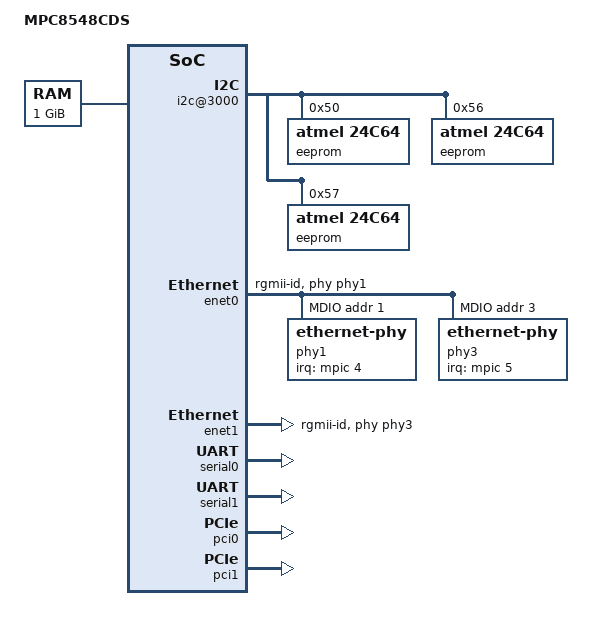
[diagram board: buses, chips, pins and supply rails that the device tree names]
/*
 * MPC8548 CDS Device Tree Source
 *
 * Copyright 2006, 2008 Freescale Semiconductor Inc.
 *
 * This program is free software; you can redistribute  it and/or modify it
 * under  the terms of  the GNU General  Public License as published by the
 * Free Software Foundation;  either version 2 of the  License, or (at your
 * option) any later version.
 */

/dts-v1/;

/ {
	model = "MPC8548CDS";
	compatible = "MPC8548CDS", "MPC85xxCDS";
	#address-cells = <1>;
	#size-cells = <1>;

	aliases {
		ethernet0 = &enet0;
		ethernet1 = &enet1;
		serial0 = &serial0;
		serial1 = &serial1;
		pci0 = &pci0;
		pci1 = &pci1;
	};

	cpus {
		#address-cells = <1>;
		#size-cells = <0>;

		PowerPC,8548@0 {
			device_type = "cpu";
			reg = <0x0>;
			d-cache-line-size = <32>;	// 32 bytes
			i-cache-line-size = <32>;	// 32 bytes
			d-cache-size = <0x8000>;		// L1, 32K
			i-cache-size = <0x8000>;		// L1, 32K
			timebase-frequency = <0>;	//  33 MHz, from uboot
			bus-frequency = <0>;	// 166 MHz
			clock-frequency = <0>;	// 825 MHz, from uboot
			next-level-cache = <&L2>;
		};
	};

	memory {
		device_type = "memory";
		reg = <0x0 0x40000000>;	// 1GB at 0x0
	};

	soc8548@e0000000 {
		#address-cells = <1>;
		#size-cells = <1>;
		device_type = "soc";
		compatible = "simple-bus";
		ranges = <0x0 0xe0000000 0x100000>;
		bus-frequency = <0>;

		ecm-law@0 {
			compatible = "fsl,ecm-law";
			reg = <0x0 0x1000>;
			fsl,num-laws = <10>;
		};

		ecm@1000 {
			compatible = "fsl,mpc8548-ecm", "fsl,ecm";
			reg = <0x1000 0x1000>;
			interrupts = <17 2>;
			interrupt-parent = <&mpic>;
		};

		memory-controller@2000 {
			compatible = "fsl,8548-memory-controller";
			reg = <0x2000 0x1000>;
			interrupt-parent = <&mpic>;
			interrupts = <18 2>;
		};

		L2: l2-cache-controller@20000 {
			compatible = "fsl,8548-l2-cache-controller";
			reg = <0x20000 0x1000>;
			cache-line-size = <32>;	// 32 bytes
			cache-size = <0x80000>;	// L2, 512K
			interrupt-parent = <&mpic>;
			interrupts = <16 2>;
		};

		i2c@3000 {
			#address-cells = <1>;
			#size-cells = <0>;
			cell-index = <0>;
			compatible = "fsl-i2c";
			reg = <0x3000 0x100>;
			interrupts = <43 2>;
			interrupt-parent = <&mpic>;
			dfsrr;

			eeprom@50 {
				compatible = "atmel,24c64";
				reg = <0x50>;
			};

			eeprom@56 {
				compatible = "atmel,24c64";
				reg = <0x56>;
			};

			eeprom@57 {
				compatible = "atmel,24c64";
				reg = <0x57>;
			};
		};

		enet0: ethernet@24000 {
			#address-cells = <1>;
			#size-cells = <1>;
			cell-index = <0>;
			device_type = "network";
			model = "eTSEC";
			compatible = "gianfar";
			reg = <0x24000 0x1000>;
			ranges = <0x0 0x24000 0x1000>;
			local-mac-address = [ 00 19 80 02 18 AA ];
			interrupts = <29 2 30 2 34 2>;
			interrupt-parent = <&mpic>;
			phy-handle = <&phy1>;
			phy-connection-type = "rgmii-id";

            mdio@520 {
                #address-cells = <1>;
                #size-cells = <0>;
                compatible = "fsl,gianfar-mdio";
                reg = <0x520 0x20>;

                phy1: ethernet-phy@1 {
                    interrupt-parent = <&mpic>;
                    interrupts = <4 1>;
                    reg = <0x1>;
                    device_type = "ethernet-phy";
                };
                phy3: ethernet-phy@3 {
                    interrupt-parent = <&mpic>;
                    interrupts = <5 1>;
                    reg = <0x3>;
                    device_type = "ethernet-phy";
                };
            };
		};

		enet1: ethernet@26000 {
			#address-cells = <1>;
			#size-cells = <1>;
			cell-index = <2>;
			device_type = "network";
			model = "eTSEC";
			compatible = "gianfar";
			reg = <0x26000 0x1000>;
			ranges = <0x0 0x26000 0x1000>;
			local-mac-address = [ 00 19 80 02 18 CC ];
			interrupts = <31 2 32 2 33 2>;
			interrupt-parent = <&mpic>;
			phy-handle = <&phy3>;
			phy-connection-type = "rgmii-id";
		};

		serial0: serial@4500 {
			cell-index = <0>;
			device_type = "serial";
			compatible = "ns16550";
			reg = <0x4500 0x100>;	// reg base, size
			clock-frequency = <0>;	// should we fill in in uboot?
			interrupts = <42 2>;
			interrupt-parent = <&mpic>;
		};

		serial1: serial@4600 {
			cell-index = <1>;
			device_type = "serial";
			compatible = "ns16550";
			reg = <0x4600 0x100>;	// reg base, size
			clock-frequency = <0>;	// should we fill in in uboot?
			interrupts = <42 2>;
			interrupt-parent = <&mpic>;
		};

		mpic: pic@40000 {
			interrupt-controller;
			#address-cells = <0>;
			#interrupt-cells = <2>;
			reg = <0x40000 0x40000>;
			compatible = "chrp,open-pic";
			device_type = "open-pic";
		};
	};

	pci0: pci@e0008000 {
		interrupt-map-mask = <0xf800 0x0 0x0 0x7>;
		interrupt-map = <
            0x7000 0x0 0x0 0x1 &mpic 0x2 0x1
            0x7000 0x0 0x0 0x1 &mpic 0x2 0x1
            0x7000 0x0 0x0 0x1 &mpic 0x2 0x1
            0x7000 0x0 0x0 0x1 &mpic 0x2 0x1

            0x7100 0x0 0x0 0x2 &mpic 0x2 0x1
            0x7100 0x0 0x0 0x2 &mpic 0x2 0x1
            0x7100 0x0 0x0 0x2 &mpic 0x2 0x1
            0x7100 0x0 0x0 0x2 &mpic 0x2 0x1

            0x7200 0x0 0x0 0x3 &mpic 0x2 0x1
            0x7200 0x0 0x0 0x3 &mpic 0x2 0x1
            0x7200 0x0 0x0 0x3 &mpic 0x2 0x1
            0x7200 0x0 0x0 0x3 &mpic 0x2 0x1

            0x6800 0x0 0x0 0x1 &mpic 0x1 0x1
            0x6800 0x0 0x0 0x1 &mpic 0x1 0x1
            0x6800 0x0 0x0 0x1 &mpic 0x1 0x1
            0x6800 0x0 0x0 0x1 &mpic 0x1 0x1>;

		interrupt-parent = <&mpic>;
		interrupts = <24 2>;
		bus-range = <0 0>;
		ranges = <0x2000000 0x0 0x80000000 0x80000000 0x0 0x10000000
			  0x1000000 0x0 0x0 0xe2000000 0x0 0x800000>;
		clock-frequency = <33333333>;
		#interrupt-cells = <1>;
		#size-cells = <2>;
		#address-cells = <3>;
		reg = <0xe0008000 0x1000>;
		compatible = "fsl,mpc8540-pcix", "fsl,mpc8540-pci";
		device_type = "pci";
	};

	pci1: pcie@e000a000 {
		interrupt-map-mask = <0xf800 0x0 0x0 0x7>;
		interrupt-map = <

			/* IDSEL 0x0 (PEX) */
			0x00000 0x0 0x0 0x1 &mpic 0x0 0x1
			0x00000 0x0 0x0 0x1 &mpic 0x0 0x1
			0x00000 0x0 0x0 0x1 &mpic 0x0 0x1
			0x00000 0x0 0x0 0x1 &mpic 0x0 0x1>;

		interrupt-parent = <&mpic>;
		interrupts = <26 2>;
		bus-range = <0 255>;
		ranges = <0x2000000 0x0 0xa0000000 0xa0000000 0x0 0x20000000
			  0x1000000 0x0 0x0 0xe3000000 0x0 0x100000>;
		clock-frequency = <33333333>;
		#interrupt-cells = <1>;
		#size-cells = <2>;
		#address-cells = <3>;
		reg = <0xe000a000 0x1000>;
		compatible = "fsl,mpc8548-pcie";
		device_type = "pci";
		pcie@0 {
			reg = <0x0 0x0 0x0 0x0 0x0>;
			#size-cells = <2>;
			#address-cells = <3>;
			device_type = "pci";
			ranges = <0x2000000 0x0 0xa0000000
				  0x2000000 0x0 0xa0000000
				  0x0 0x20000000

				  0x1000000 0x0 0x0
				  0x1000000 0x0 0x0
				  0x0 0x100000>;
		};
	};
};
